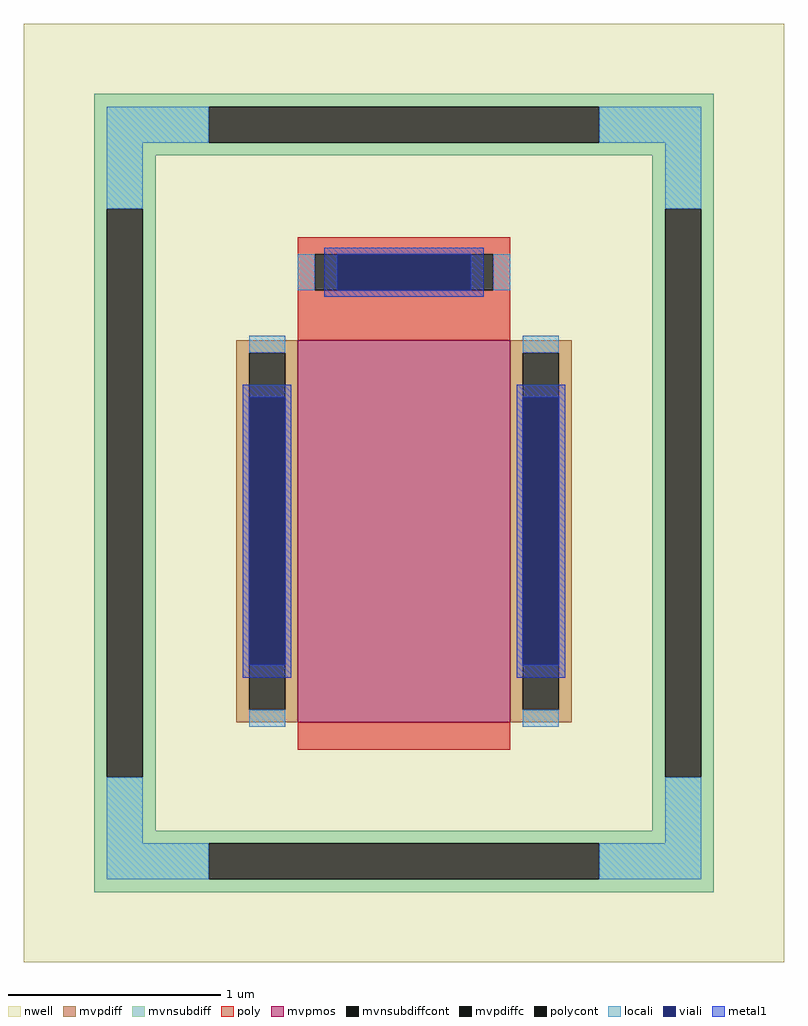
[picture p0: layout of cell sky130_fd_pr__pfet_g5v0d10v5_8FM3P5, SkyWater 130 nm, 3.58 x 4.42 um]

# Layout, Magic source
magic
tech sky130A
magscale 1 2
<< nwell >>
rect -358 -442 358 442
<< mvpmos >>
rect -100 -216 100 144
<< mvpdiff >>
rect -158 132 -100 144
rect -158 -204 -146 132
rect -112 -204 -100 132
rect -158 -216 -100 -204
rect 100 132 158 144
rect 100 -204 112 132
rect 146 -204 158 132
rect 100 -216 158 -204
<< mvpdiffc >>
rect -146 -204 -112 132
rect 112 -204 146 132
<< mvnsubdiff >>
rect -292 364 292 376
rect -292 330 -184 364
rect 184 330 292 364
rect -292 318 292 330
rect -292 268 -234 318
rect -292 -268 -280 268
rect -246 -268 -234 268
rect 234 268 292 318
rect -292 -318 -234 -268
rect 234 -268 246 268
rect 280 -268 292 268
rect 234 -318 292 -268
rect -292 -330 292 -318
rect -292 -364 -184 -330
rect 184 -364 292 -330
rect -292 -376 292 -364
<< mvnsubdiffcont >>
rect -184 330 184 364
rect -280 -268 -246 268
rect 246 -268 280 268
rect -184 -364 184 -330
<< poly >>
rect -100 225 100 241
rect -100 191 -84 225
rect 84 191 100 225
rect -100 144 100 191
rect -100 -242 100 -216
<< polycont >>
rect -84 191 84 225
<< locali >>
rect -280 330 -184 364
rect 184 330 280 364
rect -280 268 -246 330
rect 246 268 280 330
rect -100 191 -84 225
rect 84 191 100 225
rect -146 132 -112 148
rect -146 -220 -112 -204
rect 112 132 146 148
rect 112 -220 146 -204
rect -280 -330 -246 -268
rect 246 -330 280 -268
rect -280 -364 -184 -330
rect 184 -364 280 -330
<< viali >>
rect -63 191 63 225
rect -146 -162 -112 90
rect 112 -162 146 90
<< metal1 >>
rect -75 225 75 231
rect -75 191 -63 225
rect 63 191 75 225
rect -75 185 75 191
rect -152 90 -106 102
rect -152 -162 -146 90
rect -112 -162 -106 90
rect -152 -174 -106 -162
rect 106 90 152 102
rect 106 -162 112 90
rect 146 -162 152 90
rect 106 -174 152 -162
<< properties >>
string FIXED_BBOX -263 -347 263 347
string gencell sky130_fd_pr__pfet_g5v0d10v5
string library sky130
string parameters w 1.8 l 1 m 1 nf 1 diffcov 100 polycov 100 guard 1 glc 1 grc 1 gtc 1 gbc 1 tbcov 100 rlcov 100 topc 1 botc 0 poverlap 0 doverlap 1 lmin 0.50 wmin 0.42 compatible {sky130_fd_pr__pfet_01v8  sky130_fd_pr__pfet_01v8_lvt sky130_fd_pr__pfet_01v8_hvt  sky130_fd_pr__pfet_g5v0d10v5} full_metal 1 viasrc 75 viadrn 75 viagate 75 viagb 0 viagr 0 viagl 0 viagt 0
<< end >>
